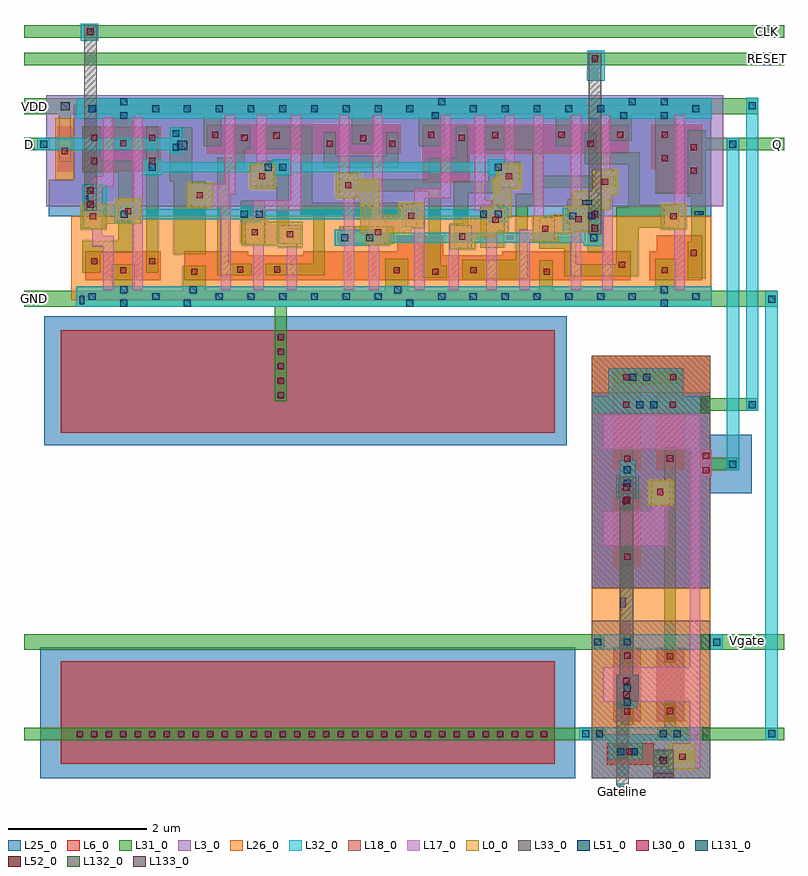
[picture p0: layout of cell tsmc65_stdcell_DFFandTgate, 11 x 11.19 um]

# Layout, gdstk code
from math import pi, radians
import gdstk
lib = gdstk.Library(unit=1e-6, precision=1e-09)
def R(c, l, rs):  # rectangles x0, y0, x1, y1
    for r in rs: c.add(gdstk.rectangle(r[:2], r[2:], *l))
def A(c, l, x, y, w, h, nx, ny, dx, dy):  # array of equal rectangles
    R(c, l, [(x+i*dx, y+j*dy, x+i*dx+w, y+j*dy+h) for i in range(nx) for j in range(ny)])
L0_0 = (0, 0)
L3_0 = (3, 0)
L6_0 = (6, 0)
L17_0 = (17, 0)
L18_0 = (18, 0)
L25_0 = (25, 0)
L26_0 = (26, 0)
L30_0 = (30, 0)
L31_0 = (31, 0)
L32_0 = (32, 0)
L33_0 = (33, 0)
L51_0 = (51, 0)
L52_0 = (52, 0)
L131_0 = (131, 0)
L132_0 = (132, 0)
L133_0 = (133, 0)

sky130_fd_sc_hd__dfrtp_1 = lib.new_cell('sky130_fd_sc_hd__dfrtp_1_fix')
R(sky130_fd_sc_hd__dfrtp_1, L0_0, [(5.405,0.685,5.775,0.855), (2.91,0.715,3.28,0.745), (2.4,0.745,3.28,1.085), (4.185,0.745,4.555,0.915), (6.605,0.795,6.975,0.915), (5.405,0.855,6.07,0.925), (4.11,0.915,4.85,0.985), (6.605,0.915,7.19,0.935), (5.405,0.925,6.255,1.055), (6.605,0.935,7.455,1.165), (0.06,0.975,0.43,1.05), (8.46,0.975,8.83,1.345), (4.11,0.985,5.035,1.185), (0.06,1.05,0.94,1.345), (5.59,1.055,6.255,1.125), (2.4,1.085,2.77,1.115), (5.885,1.125,6.255,1.14), (5.885,1.14,6.305,1.295), (6.87,1.165,7.455,1.185), (4.11,1.185,4.385,1.425), (4.665,1.185,5.035,1.355), (7.085,1.185,7.455,1.255), (7.085,1.255,7.74,1.305), (1.605,1.28,1.975,1.65), (6.03,1.295,6.305,1.555), (7.185,1.305,7.74,1.475), (0.57,1.345,0.94,1.42), (3.755,1.425,4.385,1.695), (7.185,1.475,7.84,1.525), (7.47,1.525,7.84,1.845), (2.51,1.555,2.88,1.925), (6.03,1.555,6.45,1.71), (3.755,1.695,4.125,1.795), (6.08,1.71,6.45,1.925)])
R(sky130_fd_sc_hd__dfrtp_1, L3_0, [(-0.435,1.305,9.365,2.91)])
R(sky130_fd_sc_hd__dfrtp_1, L6_0, [(0.135,0.235,1.225,0.655), (1.565,0.235,8.025,0.595), (8.295,0.235,9.065,0.655), (1.565,0.595,2.49,0.655), (3.285,0.595,5.315,0.655), (6.165,0.595,8.025,0.655), (4.645,0.655,5.315,0.875), (8.405,0.655,9.065,0.885), (8.405,1.485,9.065,1.845), (5.015,1.645,5.695,2.065), (-0.275,1.815,-0.06,2.455), (0.095,1.815,1.225,2.455), (8.325,1.845,9.065,2.485), (1.89,2.065,4.7,2.485), (5.015,2.065,8,2.485)])
R(sky130_fd_sc_hd__dfrtp_1, L17_0, [(0.395,0.095,0.545,0.73), (0.815,0.095,0.965,1.1), (2.09,0.095,2.24,1.3), (2.565,0.095,2.715,0.765), (3.045,0.095,3.195,0.765), (3.875,0.095,4.025,1.445), (4.235,0.095,4.385,0.765), (4.895,0.095,5.045,1.005), (5.39,0.095,5.54,0.705), (5.935,0.095,6.085,0.945), (6.415,0.095,6.565,0.815), (7.16,0.095,7.31,0.955), (7.615,0.095,7.765,1.495), (8.655,0.095,8.805,0.995), (5.39,0.705,5.725,1.035), (0.23,0.73,0.545,0.88), (2.45,0.765,2.72,1.095), (2.93,0.765,3.26,1.035), (4.235,0.765,4.505,1.095), (6.415,0.815,6.925,0.965), (0.23,0.88,0.38,0.995), (5.935,0.945,6.205,1.185), (7.135,0.955,7.405,1.285), (6.62,0.965,6.925,1.145), (0.11,0.995,0.38,1.325), (8.51,0.995,8.805,1.325), (4.715,1.005,5.045,1.335), (2.565,1.095,2.72,1.245), (4.29,1.095,4.44,2.625), (0.59,1.1,0.965,1.37), (6.62,1.145,6.77,2.625), (5.875,1.185,6.205,1.245), (2.565,1.245,3.255,1.395), (5.77,1.245,6.205,1.275), (5.77,1.275,6.085,1.335), (7.16,1.285,7.31,2.625), (1.655,1.3,2.24,1.48), (0.23,1.325,0.38,1.59), (8.655,1.325,8.805,2.625), (4.895,1.335,5.045,1.42), (5.77,1.335,6.02,1.395), (0.815,1.37,0.965,2.595), (3.105,1.395,3.255,2.625), (5.77,1.395,5.92,2.625), (4.895,1.42,5.425,1.57), (3.805,1.445,4.08,1.775), (1.655,1.48,2.3,1.63), (7.52,1.495,7.79,1.825), (5.275,1.57,5.425,2.625), (6.13,1.575,6.4,1.905), (0.23,1.59,0.545,1.74), (2.53,1.605,2.86,1.875), (2.15,1.63,2.3,2.625), (0.395,1.74,0.545,2.595), (3.805,1.775,3.955,2.625), (7.58,1.825,7.73,2.625), (2.61,1.875,2.76,2.625), (6.2,1.905,6.35,2.625)])
R(sky130_fd_sc_hd__dfrtp_1, L25_0, [(-0.395,1.165,0.095,1.69), (-0.035,1.165,1.35,2.775), (1.35,1.165,9.195,2.775), (8.28,1.36,9.195,1.72), (4.89,1.52,5.82,1.94), (8.2,1.72,9.195,1.94)])
R(sky130_fd_sc_hd__dfrtp_1, L26_0, [(-0.07,-0.055,9.195,1.165), (0.095,0.72,2.615,0.78), (3.16,0.72,5.44,0.78), (6.04,0.72,9.19,0.78), (4.52,0.78,5.44,1), (8.28,0.78,9.19,1.01), (-0.305,1.69,-0.035,2.58)])
R(sky130_fd_sc_hd__dfrtp_1, L30_0, [(1.665,0.315,1.755,0.405), (5.155,0.315,5.245,0.405), (6.765,0.315,6.855,0.405), (0.635,0.335,0.725,0.425), (4.595,0.335,4.685,0.425), (5.705,0.335,5.795,0.425), (8.475,0.335,8.565,0.425), (2.33,0.345,2.42,0.435), (2.865,0.345,2.955,0.435), (7.855,0.415,7.945,0.505), (0.215,0.465,0.305,0.555), (1.055,0.465,1.145,0.555), (8.895,0.585,8.985,0.675), (5.545,0.825,5.635,0.915), (3.05,0.855,3.14,0.945), (2.54,0.885,2.63,0.975), (4.325,0.885,4.415,0.975), (6.745,0.935,6.835,1.025), (6.025,1.065,6.115,1.155), (7.225,1.075,7.315,1.165), (0.2,1.115,0.29,1.205), (8.6,1.115,8.69,1.205), (4.805,1.125,4.895,1.215), (0.71,1.19,0.8,1.28), (1.745,1.42,1.835,1.51), (3.895,1.565,3.985,1.655), (7.61,1.615,7.7,1.705), (2.65,1.695,2.74,1.785), (6.22,1.695,6.31,1.785), (8.895,1.775,8.985,1.865), (0.215,1.915,0.305,2.005), (1.055,1.915,1.145,2.005), (8.475,1.955,8.565,2.045), (-0.21,2.06,-0.12,2.15), (8.895,2.115,8.985,2.205), (3.625,2.165,3.715,2.255), (4.53,2.165,4.62,2.255), (7.4,2.165,7.49,2.255), (0.635,2.175,0.725,2.265), (4.11,2.245,4.2,2.335), (0.215,2.255,0.305,2.345), (1.055,2.255,1.145,2.345), (2.39,2.255,2.48,2.345), (5.535,2.255,5.625,2.345), (2.855,2.285,2.945,2.375), (6.02,2.29,6.11,2.38), (1.97,2.295,2.06,2.385), (5.095,2.295,5.185,2.385), (6.98,2.295,7.07,2.385), (7.83,2.295,7.92,2.385), (8.475,2.295,8.565,2.385)])
R(sky130_fd_sc_hd__dfrtp_1, L31_0, [(0,-0.15,9.2,0.085), (0.515,0.085,0.845,0.465), (1.545,0.085,1.875,0.445), (4.475,0.085,4.805,0.545), (6.705,0.085,6.895,0.525), (8.38,0.085,8.685,0.545), (5.585,0.255,6.535,0.535), (8.855,0.265,9.11,0.795), (5.015,0.275,5.365,0.445), (7.065,0.295,8.135,0.465), (2.045,0.305,2.54,0.475), (2.745,0.305,3.6,0.475), (0.09,0.345,0.345,0.635), (1.015,0.345,1.185,2.465), (5.015,0.445,5.275,0.835), (7.065,0.465,7.235,0.695), (7.815,0.465,8.135,0.82), (2.045,0.475,2.215,1.835), (3.43,0.475,3.6,1.185), (6.365,0.535,6.535,1.315), (1.415,0.615,1.875,1.665), (0.09,0.635,0.84,0.805), (7.405,0.635,7.645,1.035), (6.705,0.695,7.235,0.865), (5.465,0.705,5.675,1.495), (5.845,0.705,6.195,1.325), (2.385,0.765,2.735,1.385), (2.905,0.765,3.26,0.985), (3.805,0.765,4.595,1.015), (8.9,0.795,9.11,1.445), (0.61,0.805,0.84,1.795), (7.815,0.82,8.14,0.995), (5.105,0.835,5.275,1.525), (6.705,0.865,6.925,1.145), (0.09,0.975,0.44,1.625), (2.905,0.985,3.075,1.575), (7.815,0.995,8.73,1.295), (4.765,1.005,4.935,1.185), (7.105,1.035,7.645,1.405), (3.245,1.185,4.935,1.355), (7.99,1.295,8.73,1.325), (6.365,1.315,6.77,1.485), (7.99,1.325,8.16,1.915), (3.245,1.355,3.415,2.135), (8.855,1.445,9.11,2.325), (6.6,1.485,6.77,1.575), (5.465,1.495,6.14,1.655), (8.38,1.495,8.685,2.635), (3.775,1.525,5.275,1.695), (2.61,1.575,3.075,1.965), (6.6,1.575,7.82,1.745), (5.465,1.655,6.43,1.665), (1.355,1.665,1.68,2.45), (5.97,1.665,6.43,1.955), (5.105,1.695,5.275,1.835), (6.6,1.745,6.77,2.125), (0.09,1.795,0.84,1.965), (2.045,1.835,2.44,2.005), (5.105,1.835,5.665,2.005), (3.585,1.865,4.66,2.035), (7.36,1.915,8.16,2.085), (-0.25,1.94,-0.08,2.635), (0.09,1.965,0.345,2.465), (2.27,2.005,2.44,2.135), (5.495,2.005,5.665,2.465), (3.585,2.035,3.755,2.375), (4.49,2.035,4.66,2.375), (7.36,2.085,7.53,2.375), (5.9,2.125,6.77,2.465), (0.515,2.135,0.845,2.635), (2.27,2.135,2.52,2.465), (2.735,2.135,3.415,2.465), (1.85,2.175,2.1,2.635), (4.955,2.175,5.325,2.635), (6.94,2.175,7.19,2.635), (3.99,2.205,4.32,2.635), (7.71,2.255,8.04,2.635), (-0.25,2.635,9.2,2.87)])
R(sky130_fd_sc_hd__dfrtp_1, L32_0, [(0,-0.15,9.2,0.15), (3.745,0.735,4.395,0.78), (7.345,0.735,7.635,0.78), (3.745,0.78,7.635,0.92), (3.745,0.92,4.395,0.965), (7.045,0.92,7.635,0.965), (7.045,0.965,7.635,1.28), (0.55,1.075,0.84,1.12), (2.385,1.075,2.675,1.12), (5.965,1.075,6.255,1.12), (0.55,1.12,6.255,1.26), (0.55,1.26,0.84,1.305), (2.385,1.26,2.675,1.305), (5.965,1.26,6.255,1.305), (0.955,1.755,1.245,1.8), (2.845,1.755,3.135,1.8), (5.965,1.755,6.255,1.8), (0.955,1.8,6.255,1.94), (0.955,1.94,1.245,1.985), (2.845,1.94,3.135,1.985), (5.965,1.94,6.255,1.985), (0,2.57,9.2,2.87)])
A(sky130_fd_sc_hd__dfrtp_1, L51_0, 0.18, -0.05, 0.1, 0.1, 3, 1, 0.92, 0)
A(sky130_fd_sc_hd__dfrtp_1, L51_0, 2.48, -0.05, 0.1, 0.1, 5, 1, 0.46, 0)
A(sky130_fd_sc_hd__dfrtp_1, L51_0, 5.24, -0.05, 0.1, 0.1, 7, 1, 0.46, 0)
A(sky130_fd_sc_hd__dfrtp_1, L51_0, 1.1, 2.67, 0.1, 0.1, 9, 1, 0.46, 0)
A(sky130_fd_sc_hd__dfrtp_1, L51_0, 5.7, 2.67, 0.1, 0.1, 5, 1, 0.46, 0)
R(sky130_fd_sc_hd__dfrtp_1, L51_0, [(0.64,-0.15,0.74,-0.05), (1.56,-0.15,1.66,-0.05), (4.78,-0.15,4.88,-0.05), (8.46,-0.15,8.56,-0.05), (8.92,-0.05,9.02,0.05), (0.64,0.05,0.74,0.15), (1.645,0.05,1.745,0.15), (4.605,0.05,4.705,0.15), (8.46,0.05,8.56,0.15), (3.84,0.8,3.94,0.9), (4.2,0.8,4.3,0.9), (7.44,0.8,7.54,0.9), (7.14,1.115,7.24,1.215), (7.415,1.115,7.515,1.215), (0.645,1.14,0.745,1.24), (2.385,1.14,2.485,1.24), (2.6,1.14,2.7,1.24), (5.845,1.14,5.945,1.24), (6.06,1.14,6.16,1.24), (1.05,1.82,1.15,1.92), (2.73,1.82,2.83,1.92), (2.94,1.82,3.04,1.92), (6.06,1.82,6.16,1.92), (0.64,2.57,0.74,2.67), (5.145,2.57,5.245,2.67), (7.875,2.57,7.975,2.67), (8.46,2.57,8.56,2.67), (0.18,2.67,0.28,2.77), (8.92,2.67,9.02,2.77), (0.64,2.77,0.74,2.87), (5.24,2.77,5.34,2.87), (8,2.77,8.1,2.87), (8.46,2.77,8.56,2.87)])
R(sky130_fd_sc_hd__dfrtp_1, L131_0, [(0.055,-0.11,0.12,0.01), (8.955,1.185,9.085,1.235), (7.325,1.33,7.465,1.39), (0.145,1.4,0.175,1.465), (1.46,2.125,1.61,2.255), (-0.225,2.695,-0.095,2.815)])
sky130_fd_sc_hd__dfrtp_1.add(gdstk.Label('VPWR', (-0.18,2.76), layer=131, texttype=0))
sky130_fd_sc_hd__dfrtp_1.add(gdstk.Label('D', (1.54,2.18), layer=131, texttype=0))
sky130_fd_sc_hd__dfrtp_1.add(gdstk.Label('Q', (9.01,1.21), layer=131, texttype=0))
sky130_fd_sc_hd__dfrtp_1.add(gdstk.Label('CLK_IN', (0.155,1.44), layer=131, texttype=0))
sky130_fd_sc_hd__dfrtp_1.add(gdstk.Label('VSUBS', (0.09,-0.04), layer=131, texttype=0))
sky130_fd_sc_hd__dfrtp_1.add(gdstk.Label('RESET_B', (7.39,1.35), layer=131, texttype=0))

m1_od_cdns_6642432947010 = lib.new_cell('M1_OD_CDNS_6642432947010')
R(m1_od_cdns_6642432947010, L6_0, [(-0.075,-0.075,0.075,0.075)])
R(m1_od_cdns_6642432947010, L30_0, [(-0.045,-0.045,0.045,0.045)])
R(m1_od_cdns_6642432947010, L31_0, [(-0.085,-0.085,0.085,0.085)])

m1_po_cdns_6642432947011 = lib.new_cell('M1_PO_CDNS_6642432947011')
R(m1_po_cdns_6642432947011, L17_0, [(-0.085,-0.085,0.085,0.085)])
R(m1_po_cdns_6642432947011, L30_0, [(-0.045,-0.045,0.045,0.045)])
R(m1_po_cdns_6642432947011, L31_0, [(-0.085,-0.085,0.085,0.085)])

m2_m1_cdns_664243294706 = lib.new_cell('M2_M1_CDNS_664243294706')
R(m2_m1_cdns_664243294706, L31_0, [(-0.09,-0.19,0.09,0.19)])
R(m2_m1_cdns_664243294706, L32_0, [(-0.09,-0.19,0.09,0.19)])
R(m2_m1_cdns_664243294706, L51_0, [(-0.05,-0.15,0.05,-0.05), (-0.05,0.05,0.05,0.15)])

m2_m1_cdns_664243294708 = lib.new_cell('M2_M1_CDNS_664243294708')
R(m2_m1_cdns_664243294708, L31_0, [(-0.19,-0.09,0.19,0.09)])
R(m2_m1_cdns_664243294708, L32_0, [(-0.19,-0.09,0.19,0.09)])
R(m2_m1_cdns_664243294708, L51_0, [(-0.15,-0.05,-0.05,0.05), (0.05,-0.05,0.15,0.05)])

m2_m1_cdns_664243294700 = lib.new_cell('M2_M1_CDNS_664243294700')
R(m2_m1_cdns_664243294700, L31_0, [(-0.09,-0.09,0.09,0.09)])
R(m2_m1_cdns_664243294700, L32_0, [(-0.09,-0.09,0.09,0.09)])
R(m2_m1_cdns_664243294700, L51_0, [(-0.05,-0.05,0.05,0.05)])

m3_m2_cdns_664243294709 = lib.new_cell('M3_M2_CDNS_664243294709')
R(m3_m2_cdns_664243294709, L32_0, [(-0.09,-0.09,0.09,0.09)])
R(m3_m2_cdns_664243294709, L33_0, [(-0.09,-0.09,0.09,0.09)])
R(m3_m2_cdns_664243294709, L52_0, [(-0.05,-0.05,0.05,0.05)])

m3_m2_cdns_6642432947012 = lib.new_cell('M3_M2_CDNS_6642432947012')
R(m3_m2_cdns_6642432947012, L32_0, [(-0.19,-0.09,0.19,0.09)])
R(m3_m2_cdns_6642432947012, L33_0, [(-0.19,-0.09,0.19,0.09)])
R(m3_m2_cdns_6642432947012, L52_0, [(-0.15,-0.05,-0.05,0.05), (0.05,-0.05,0.15,0.05)])

sky130_hilas_tgatevinj01 = lib.new_cell('sky130_hilas_TgateVinj01d3')
R(sky130_hilas_tgatevinj01, L0_0, [(-0.53,0.38,-0.16,0.75), (3.295,0.69,3.665,1.06)])
R(sky130_hilas_tgatevinj01, L3_0, [(-2.32,-0.43,1.04,1.29)])
R(sky130_hilas_tgatevinj01, L6_0, [(3.285,-0.21,3.595,0.47), (-2.14,-0.12,-1.77,0.28), (-1.77,-0.12,-0.67,0.28), (-0.37,-0.12,0.73,0.28), (1.905,-0.12,2.965,0.28), (-2.14,0.25,-1.895,0.55), (-2.14,0.51,-1.77,0.91), (-1.77,0.51,-0.67,0.91), (1.905,0.51,2.965,0.91)])
R(sky130_hilas_tgatevinj01, L17_0, [(-1.47,-0.26,-0.97,0.99), (-0.07,-0.26,0.43,0.43), (2.185,-0.26,2.685,0.99), (-0.51,0.43,0.43,0.67), (-0.51,0.67,-0.11,0.71), (3.285,0.74,3.645,0.99), (-1.47,0.99,3.645,1.14)])
R(sky130_hilas_tgatevinj01, L18_0, [(-2.32,-0.43,1.04,1.29), (1.51,-0.43,3.795,1.29)])
R(sky130_hilas_tgatevinj01, L25_0, [(-1.79,-0.43,1.04,0.365), (3.16,-0.43,3.795,1.29), (-1.79,0.365,1.04,0.585), (-1.79,0.585,1.04,1.29)])
R(sky130_hilas_tgatevinj01, L26_0, [(-2.32,-0.43,-1.79,1.29), (1.04,-0.43,3.16,1.29)])
R(sky130_hilas_tgatevinj01, L31_0, [(-2.1,-0.12,-1.92,0.86), (3.32,-0.12,3.5,0.3), (-1.705,-0.07,-1.525,0.86), (2.4,-0.03,2.445,-0.005), (2.445,-0.03,2.78,0), (-1,-0.005,-0.04,0.175), (0.41,-0.005,2.13,0.175), (2.445,0,3.015,0.17), (2.445,0.17,2.78,0.21), (2.4,0.175,2.445,0.21), (-0.52,0.44,-0.18,0.62), (3.395,0.48,3.565,0.52), (3.565,0.48,3.625,0.515), (3.395,0.52,3.625,0.69), (-1,0.62,1.96,0.79), (2.665,0.62,3.24,0.79), (3.395,0.69,3.565,1.04)])
R(sky130_hilas_tgatevinj01, L32_0, [(-1.74,-0.43,-1.49,-0.18), (1.705,-0.43,1.935,1.29), (3.055,-0.43,3.245,-0.18), (-2.14,-0.18,-2.13,-0.11), (-2.13,-0.18,-1.49,-0.11), (3.055,-0.18,3.525,0.31), (-2.14,-0.11,-1.49,0.25), (-0.59,-0.07,-0.25,-0.02), (2.295,-0.06,2.665,-0.04), (2.665,-0.06,2.715,-0.04), (2.715,-0.06,2.78,-0.005), (2.295,-0.04,2.715,0.22), (-0.81,-0.02,-0.25,0), (-0.81,0,-0.13,0.17), (-0.81,0.17,-0.25,0.21), (2.715,0.175,2.78,0.23), (-0.59,0.21,-0.25,0.25), (2.295,0.22,2.665,0.23), (2.665,0.22,2.715,0.23), (-2.14,0.25,-2.13,0.89), (-2.13,0.25,-1.49,0.89), (3.055,0.31,3.245,1.29), (3.385,0.47,3.705,0.75), (-1.74,0.89,-1.49,1.29)])
R(sky130_hilas_tgatevinj01, L33_0, [(2.295,-0.07,2.615,-0.02), (2.615,-0.07,2.675,-0.015), (-0.57,-0.04,-0.25,-0.02), (-0.57,-0.02,2.615,0.17), (2.615,0.165,2.675,0.25), (-0.57,0.17,-0.25,0.22), (2.295,0.17,2.615,0.25), (3.375,0.46,3.795,0.69), (3.375,0.69,3.715,0.76), (3.715,0.69,3.795,0.76)])
R(sky130_hilas_tgatevinj01, L132_0, [(-1.74,1.14,-1.49,1.29), (1.71,1.15,1.93,1.28), (3.06,1.17,3.24,1.29)])
R(sky130_hilas_tgatevinj01, L133_0, [(1.18,-0.015,1.32,0.065), (3.72,0.46,3.79,0.76)])
sky130_hilas_tgatevinj01.add(gdstk.Reference(m1_od_cdns_6642432947010, (3.41,0.12)))
sky130_hilas_tgatevinj01.add(gdstk.Reference(m1_od_cdns_6642432947010, (2.825,0.085)))
sky130_hilas_tgatevinj01.add(gdstk.Reference(m1_od_cdns_6642432947010, (2.82,0.705)))
sky130_hilas_tgatevinj01.add(gdstk.Reference(m1_od_cdns_6642432947010, (2.02,0.085)))
sky130_hilas_tgatevinj01.add(gdstk.Reference(m1_od_cdns_6642432947010, (2.025,0.705)))
sky130_hilas_tgatevinj01.add(gdstk.Reference(m1_od_cdns_6642432947010, (0.585,0.085)))
sky130_hilas_tgatevinj01.add(gdstk.Reference(m1_od_cdns_6642432947010, (-0.235,0.085)))
sky130_hilas_tgatevinj01.add(gdstk.Reference(m1_od_cdns_6642432947010, (-0.835,0.705)))
sky130_hilas_tgatevinj01.add(gdstk.Reference(m1_od_cdns_6642432947010, (-0.83,0.085)))
sky130_hilas_tgatevinj01.add(gdstk.Reference(m1_od_cdns_6642432947010, (-2.01,0.07)))
sky130_hilas_tgatevinj01.add(gdstk.Reference(m1_od_cdns_6642432947010, (-1.615,0.07)))
sky130_hilas_tgatevinj01.add(gdstk.Reference(m1_od_cdns_6642432947010, (-2.01,0.75)))
sky130_hilas_tgatevinj01.add(gdstk.Reference(m1_od_cdns_6642432947010, (-1.615,0.745)))
sky130_hilas_tgatevinj01.add(gdstk.Reference(m1_po_cdns_6642432947011, (3.48,0.885)))
sky130_hilas_tgatevinj01.add(gdstk.Reference(m1_po_cdns_6642432947011, (-0.35,0.565)))
sky130_hilas_tgatevinj01.add(gdstk.Reference(m2_m1_cdns_664243294706, (3.41,0.09)))
sky130_hilas_tgatevinj01.add(gdstk.Reference(m2_m1_cdns_664243294706, (-1.615,0.37)))
sky130_hilas_tgatevinj01.add(gdstk.Reference(m2_m1_cdns_664243294706, (-2.01,0.27)))
sky130_hilas_tgatevinj01.add(gdstk.Reference(m2_m1_cdns_664243294706, (3.15,0.71)))
sky130_hilas_tgatevinj01.add(gdstk.Reference(m2_m1_cdns_664243294708, (2.59,0.085)))
sky130_hilas_tgatevinj01.add(gdstk.Reference(m2_m1_cdns_664243294708, (-0.575,0.085)))
sky130_hilas_tgatevinj01.add(gdstk.Reference(m2_m1_cdns_664243294700, (3.535,0.605)))
sky130_hilas_tgatevinj01.add(gdstk.Reference(m2_m1_cdns_664243294700, (1.82,0.085)))
sky130_hilas_tgatevinj01.add(gdstk.Reference(m3_m2_cdns_664243294709, (3.53,0.605)))
sky130_hilas_tgatevinj01.add(gdstk.Reference(m3_m2_cdns_6642432947012, (2.485,0.075)))
sky130_hilas_tgatevinj01.add(gdstk.Reference(m3_m2_cdns_6642432947012, (-0.32,0.07)))
sky130_hilas_tgatevinj01.add(gdstk.Label('select', (3.76,0.62), layer=133, texttype=0))
sky130_hilas_tgatevinj01.add(gdstk.Label('drain', (1.25,-0.005), layer=133, texttype=0))
sky130_hilas_tgatevinj01.add(gdstk.Label('drainRail', (1.82,1.21), layer=132, texttype=0))
sky130_hilas_tgatevinj01.add(gdstk.Label('gnd', (3.15,1.23), layer=132, texttype=0))
sky130_hilas_tgatevinj01.add(gdstk.Label('Vinj', (-1.61,1.23), layer=132, texttype=0))

m1_po_cdns_664243294701 = lib.new_cell('M1_PO_CDNS_664243294701')
R(m1_po_cdns_664243294701, L17_0, [(-0.085,-0.19,0.085,0.19)])
R(m1_po_cdns_664243294701, L30_0, [(-0.045,-0.15,0.045,-0.06), (-0.045,0.06,0.045,0.15)])
R(m1_po_cdns_664243294701, L31_0, [(-0.085,-0.19,0.085,0.19)])

m1_od_cdns_664243294702 = lib.new_cell('M1_OD_CDNS_664243294702')
R(m1_od_cdns_664243294702, L6_0, [(-3.435,-0.075,3.435,0.075)])
A(m1_od_cdns_664243294702, L30_0, -3.405, -0.045, 0.09, 0.09, 33, 1, 0.21, 0)
R(m1_od_cdns_664243294702, L31_0, [(-3.445,-0.085,3.445,0.085)])

m3_m2_cdns_664243294703 = lib.new_cell('M3_M2_CDNS_664243294703')
R(m3_m2_cdns_664243294703, L32_0, [(-0.115,-0.115,0.115,0.115)])
R(m3_m2_cdns_664243294703, L33_0, [(-0.09,-0.09,0.09,0.09)])
R(m3_m2_cdns_664243294703, L52_0, [(-0.05,-0.05,0.05,0.05)])

m2_m1_cdns_664243294704 = lib.new_cell('M2_M1_CDNS_664243294704')
R(m2_m1_cdns_664243294704, L31_0, [(-0.09,-0.09,0.09,0.09)])
R(m2_m1_cdns_664243294704, L32_0, [(-0.115,-0.115,0.115,0.115)])
R(m2_m1_cdns_664243294704, L51_0, [(-0.05,-0.05,0.05,0.05)])

m3_m2_cdns_664243294705 = lib.new_cell('M3_M2_CDNS_664243294705')
R(m3_m2_cdns_664243294705, L32_0, [(-0.09,-0.19,0.09,0.19)])
R(m3_m2_cdns_664243294705, L33_0, [(-0.09,-0.19,0.09,0.19)])
R(m3_m2_cdns_664243294705, L52_0, [(-0.05,-0.15,0.05,-0.05), (-0.05,0.05,0.05,0.15)])

m1_od_cdns_664243294707 = lib.new_cell('M1_OD_CDNS_664243294707')
R(m1_od_cdns_664243294707, L6_0, [(-0.075,-0.495,0.075,0.495)])
A(m1_od_cdns_664243294707, L30_0, -0.045, -0.465, 0.09, 0.09, 1, 5, 0, 0.21)
R(m1_od_cdns_664243294707, L31_0, [(-0.085,-0.505,0.085,0.505)])

tsmc65_stdcell_dffandtga = lib.new_cell('tsmc65_stdcell_DFFandTgate')
R(tsmc65_stdcell_dffandtga, L6_0, [(0.535,0.47,7.68,1.955), (0.535,5.26,7.68,6.745)])
R(tsmc65_stdcell_dffandtga, L25_0, [(0.235,0.26,7.975,2.16), (9.935,4.39,10.535,5.235), (0.29,5.08,7.855,6.95)])
R(tsmc65_stdcell_dffandtga, L31_0, [(0,0.815,8.42,0.995), (9.545,0.815,11,0.995), (0,2.12,8.395,2.35), (9.935,2.12,11,2.35), (9.95,4.72,10.35,4.9), (9.505,5.58,10.63,5.76), (3.63,6.73,3.8,7.2), (0,7.085,0.755,7.32), (9.955,7.085,10.91,7.32), (0,9.35,0.195,9.53), (9.865,9.35,11,9.53), (9.61,9.56,9.865,9.64), (0,9.87,0.505,10.105), (9.955,9.87,10.63,10.105), (0,10.585,11,10.765), (0,10.98,11,11.16)])
R(tsmc65_stdcell_dffandtga, L32_0, [(8.04,0.81,8.215,1), (10.73,0.835,10.91,7.31), (9.935,2.12,10.115,2.35), (10.17,4.72,10.35,9.53), (10.45,5.58,10.63,10.11), (0.845,8.46,1.195,8.86), (0.32,9.35,2.29,9.53), (8.15,10.36,8.175,10.56), (8.175,10.36,8.405,10.79), (0.82,10.94,1.05,11.185), (1.05,10.94,1.075,10.955)])
R(tsmc65_stdcell_dffandtga, L33_0, [(8.575,0,8.755,1.38), (8.175,8.275,8.355,10.765), (0.87,8.63,1.05,11.16)])
R(tsmc65_stdcell_dffandtga, L131_0, [(10.39,2.175,10.555,2.3), (0.105,7.135,0.23,7.27), (0.035,9.37,0.15,9.485), (10.835,9.38,10.955,9.48), (0.1,9.915,0.2,10.05), (10.71,10.585,10.805,10.765), (10.71,10.98,10.82,11.16)])
R(tsmc65_stdcell_dffandtga, L133_0, [(8.585,0.02,8.74,0.09)])
tsmc65_stdcell_dffandtga.add(gdstk.Reference(sky130_fd_sc_hd__dfrtp_1, (0.755,7.235)))
tsmc65_stdcell_dffandtga.add(gdstk.Reference(sky130_hilas_tgatevinj01, (8.645,4.055), rotation=3*pi/2))
tsmc65_stdcell_dffandtga.add(gdstk.Reference(m2_m1_cdns_664243294700, (8.305,2.235)))
tsmc65_stdcell_dffandtga.add(gdstk.Reference(m2_m1_cdns_664243294700, (10.025,2.23)))
tsmc65_stdcell_dffandtga.add(gdstk.Reference(m2_m1_cdns_664243294700, (0.285,9.44)))
tsmc65_stdcell_dffandtga.add(gdstk.Reference(m2_m1_cdns_664243294700, (10.54,9.995)))
tsmc65_stdcell_dffandtga.add(gdstk.Reference(m2_m1_cdns_664243294700, (10.82,7.195)))
tsmc65_stdcell_dffandtga.add(gdstk.Reference(m2_m1_cdns_664243294700, (10.26,9.44)))
tsmc65_stdcell_dffandtga.add(gdstk.Reference(m2_m1_cdns_664243294700, (10.54,5.67)))
tsmc65_stdcell_dffandtga.add(gdstk.Reference(m2_m1_cdns_664243294700, (10.26,4.81)))
tsmc65_stdcell_dffandtga.add(gdstk.Reference(m2_m1_cdns_664243294700, (10.82,0.905)))
tsmc65_stdcell_dffandtga.add(gdstk.Reference(m1_po_cdns_664243294701, (9.87,4.825)))
tsmc65_stdcell_dffandtga.add(gdstk.Reference(m1_od_cdns_664243294702, (4.165,0.9)))
tsmc65_stdcell_dffandtga.add(gdstk.Reference(m3_m2_cdns_664243294703, (0.96,11.07)))
tsmc65_stdcell_dffandtga.add(gdstk.Reference(m3_m2_cdns_664243294703, (8.265,10.675)))
tsmc65_stdcell_dffandtga.add(gdstk.Reference(m2_m1_cdns_664243294704, (0.96,11.07)))
tsmc65_stdcell_dffandtga.add(gdstk.Reference(m2_m1_cdns_664243294704, (8.265,10.675)))
tsmc65_stdcell_dffandtga.add(gdstk.Reference(m3_m2_cdns_664243294705, (8.265,8.325)))
tsmc65_stdcell_dffandtga.add(gdstk.Reference(m3_m2_cdns_664243294705, (0.96,8.67)))
tsmc65_stdcell_dffandtga.add(gdstk.Reference(m2_m1_cdns_664243294706, (2.2,9.495)))
tsmc65_stdcell_dffandtga.add(gdstk.Reference(m2_m1_cdns_664243294706, (0.96,8.67)))
tsmc65_stdcell_dffandtga.add(gdstk.Reference(m1_od_cdns_664243294707, (3.715,6.225)))
tsmc65_stdcell_dffandtga.add(gdstk.Reference(m2_m1_cdns_664243294708, (8.23,0.905)))
tsmc65_stdcell_dffandtga.add(gdstk.Reference(m3_m2_cdns_664243294709, (8.665,0.09)))
tsmc65_stdcell_dffandtga.add(gdstk.Label('Gateline', (8.665,0.07), layer=133, texttype=0))
tsmc65_stdcell_dffandtga.add(gdstk.Label('Vgate', (10.47,2.255), layer=131, texttype=0))
tsmc65_stdcell_dffandtga.add(gdstk.Label('GND', (0.155,7.2), layer=131, texttype=0))
tsmc65_stdcell_dffandtga.add(gdstk.Label('VDD', (0.155,9.985), layer=131, texttype=0))
tsmc65_stdcell_dffandtga.add(gdstk.Label('Q', (10.9,9.435), layer=131, texttype=0))
tsmc65_stdcell_dffandtga.add(gdstk.Label('D', (0.075,9.43), layer=131, texttype=0))
tsmc65_stdcell_dffandtga.add(gdstk.Label('RESET', (10.765,10.675), layer=131, texttype=0))
tsmc65_stdcell_dffandtga.add(gdstk.Label('CLK', (10.76,11.075), layer=131, texttype=0))

lib.write_gds('tsmc65_stdcell_DFFandTgate.gds')
